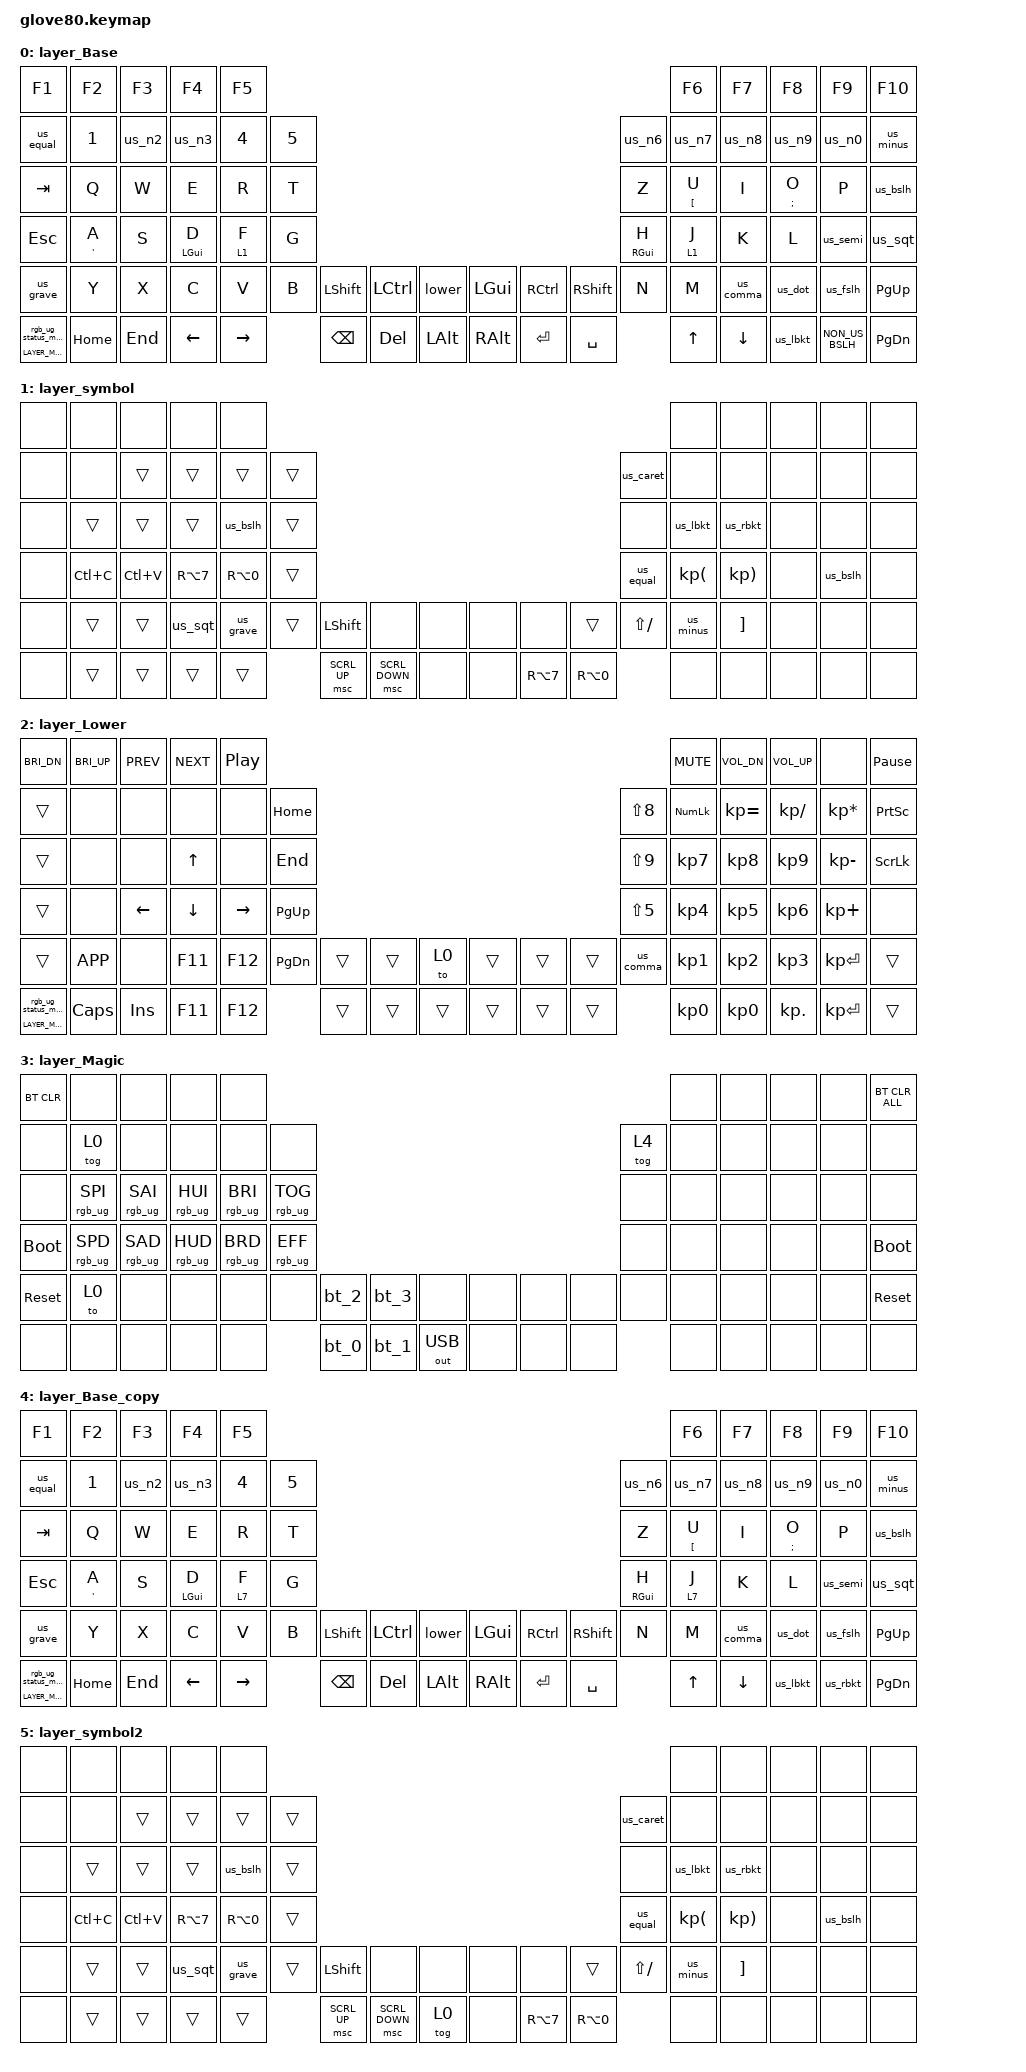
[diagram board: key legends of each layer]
/*
 * Copyright (c) 2020 The ZMK Contributors
 * Copyright (c) 2025 Innaworks Development Limited, trading as MoErgo
 *
 * SPDX-License-Identifier: MIT
 */


/* THIS FILE WAS GENERATED BY GLOVE80 LAYOUT EDITOR
 *
 * This file was generated automatically. You may or may not want to
 * edit it directly.
 */

#include <behaviors.dtsi>
/* Include all behavior includes needed */
#include <dt-bindings/zmk/outputs.h>
#include <dt-bindings/zmk/keys.h>
#include <dt-bindings/zmk/bt.h>
#include <dt-bindings/zmk/rgb.h>

/* On demand includes */
#include <dt-bindings/zmk/pointing.h>

/* Automatically generated layer name #define */
#define LAYER_Base 0
#define LAYER_symbol 1
#define LAYER_Lower 2
#define LAYER_Magic 3
#define LAYER_Base_copy 4
#define LAYER_symbol2 5

/* To deal with the situation where there is no Lower layer, to keep &lower happy */
#ifndef LAYER_Lower
#define LAYER_Lower 0
#endif

/* Custom Device-tree */


/* Input Listeners */


/* System behavior and Macros */
/ {
    behaviors {
        // For the "layer" key, it'd nice to be able to use it as either a shift or a toggle.
        // Configure it as a tap dance, so the first tap (or hold) is a &mo and the second tap is a &to
        /* tap-dance: momentary Lower; double tap switches to Lower */
        lower: lower {
            compatible = "zmk,behavior-tap-dance";
            label = "LAYER_TAP_DANCE";
            #binding-cells = <0>;
            tapping-term-ms = <200>;
            bindings = <&mo LAYER_Lower>, <&to LAYER_Lower>;
        };
    };
};

/ {
    macros {
        /* show RGB status */
        rgb_ug_status_macro: rgb_ug_status_macro {
            label = "RGB_UG_STATUS";
            compatible = "zmk,behavior-macro";
            #binding-cells = <0>;
            bindings
                = <&rgb_ug RGB_STATUS>;
        };
    };
};


/ {
#ifdef BT_DISC_CMD
    behaviors {
        /* Bluetooth profile 0 (double tap may disconnect) */
        bt_0: bt_0 {
            compatible = "zmk,behavior-tap-dance";
            label = "BT_0";
            #binding-cells = <0>;
            tapping-term-ms = <200>;
            bindings = <&bt_select_0>, <&bt BT_DISC 0>;
        };
        /* Bluetooth profile 1 (double tap may disconnect) */
        bt_1: bt_1 {
            compatible = "zmk,behavior-tap-dance";
            label = "BT_1";
            #binding-cells = <0>;
            tapping-term-ms = <200>;
            bindings = <&bt_select_1>, <&bt BT_DISC 1>;
        };
        /* Bluetooth profile 2 (double tap may disconnect) */
        bt_2: bt_2 {
            compatible = "zmk,behavior-tap-dance";
            label = "BT_2";
            #binding-cells = <0>;
            tapping-term-ms = <200>;
            bindings = <&bt_select_2>, <&bt BT_DISC 2>;
        };
        /* Bluetooth profile 3 (double tap may disconnect) */
        bt_3: bt_3 {
            compatible = "zmk,behavior-tap-dance";
            label = "BT_3";
            #binding-cells = <0>;
            tapping-term-ms = <200>;
            bindings = <&bt_select_3>, <&bt BT_DISC 3>;
        };
    };
    macros {
        bt_select_0: bt_select_0 {
            label = "BT_SELECT_0";
            compatible = "zmk,behavior-macro";
            #binding-cells = <0>;
            bindings
                = <&out OUT_BLE>,
                  <&bt BT_SEL 0>;
        };
        bt_select_1: bt_select_1 {
            label = "BT_SELECT_1";
            compatible = "zmk,behavior-macro";
            #binding-cells = <0>;
            bindings
                = <&out OUT_BLE>,
                  <&bt BT_SEL 1>;
        };
        bt_select_2: bt_select_2 {
            label = "BT_SELECT_2";
            compatible = "zmk,behavior-macro";
            #binding-cells = <0>;
            bindings
                = <&out OUT_BLE>,
                  <&bt BT_SEL 2>;
        };
        bt_select_3: bt_select_3 {
            label = "BT_SELECT_3";
            compatible = "zmk,behavior-macro";
            #binding-cells = <0>;
            bindings
                = <&out OUT_BLE>,
                  <&bt BT_SEL 3>;
        };
    };
#else
    macros {
        bt_0: bt_0 {
            label = "BT_0";
            compatible = "zmk,behavior-macro";
            #binding-cells = <0>;
            bindings
                = <&out OUT_BLE>,
                  <&bt BT_SEL 0>;
        };
        bt_1: bt_1 {
            label = "BT_1";
            compatible = "zmk,behavior-macro";
            #binding-cells = <0>;
            bindings
                = <&out OUT_BLE>,
                  <&bt BT_SEL 1>;
        };
        bt_2: bt_2 {
            label = "BT_2";
            compatible = "zmk,behavior-macro";
            #binding-cells = <0>;
            bindings
                = <&out OUT_BLE>,
                  <&bt BT_SEL 2>;
        };
        bt_3: bt_3 {
            label = "BT_3";
            compatible = "zmk,behavior-macro";
            #binding-cells = <0>;
            bindings
                = <&out OUT_BLE>,
                  <&bt BT_SEL 3>;
        };
    };
#endif
};

/ {
    behaviors {
        /* hold Magic layer; tap RGB status */
        magic: magic {
            compatible = "zmk,behavior-hold-tap";
            label = "MAGIC_HOLD_TAP";
            #binding-cells = <2>;
            flavor = "tap-preferred";
            tapping-term-ms = <200>;
            bindings = <&mo>, <&rgb_ug_status_macro>;
        };
    };
};

/* #define for key positions */
#define POS_LH_T1 52
#define POS_LH_T2 53
#define POS_LH_T3 54
#define POS_LH_T4 69
#define POS_LH_T5 70
#define POS_LH_T6 71
#define POS_LH_C1R2 15
#define POS_LH_C1R3 27
#define POS_LH_C1R4 39
#define POS_LH_C1R5 51
#define POS_LH_C2R1 4
#define POS_LH_C2R2 14
#define POS_LH_C2R3 26
#define POS_LH_C2R4 38
#define POS_LH_C2R5 50
#define POS_LH_C2R6 68
#define POS_LH_C3R1 3
#define POS_LH_C3R2 13
#define POS_LH_C3R3 25
#define POS_LH_C3R4 37
#define POS_LH_C3R5 49
#define POS_LH_C3R6 67
#define POS_LH_C4R1 2
#define POS_LH_C4R2 12
#define POS_LH_C4R3 24
#define POS_LH_C4R4 36
#define POS_LH_C4R5 48
#define POS_LH_C4R6 66
#define POS_LH_C5R1 1
#define POS_LH_C5R2 11
#define POS_LH_C5R3 23
#define POS_LH_C5R4 35
#define POS_LH_C5R5 47
#define POS_LH_C5R6 65
#define POS_LH_C6R1 0
#define POS_LH_C6R2 10
#define POS_LH_C6R3 22
#define POS_LH_C6R4 34
#define POS_LH_C6R5 46
#define POS_LH_C6R6 64
#define POS_RH_T1 57
#define POS_RH_T2 56
#define POS_RH_T3 55
#define POS_RH_T4 74
#define POS_RH_T5 73
#define POS_RH_T6 72
#define POS_RH_C1R2 16
#define POS_RH_C1R3 28
#define POS_RH_C1R4 40
#define POS_RH_C1R5 58
#define POS_RH_C2R1 5
#define POS_RH_C2R2 17
#define POS_RH_C2R3 29
#define POS_RH_C2R4 41
#define POS_RH_C2R5 59
#define POS_RH_C2R6 75
#define POS_RH_C3R1 6
#define POS_RH_C3R2 18
#define POS_RH_C3R3 30
#define POS_RH_C3R4 42
#define POS_RH_C3R5 60
#define POS_RH_C3R6 76
#define POS_RH_C4R1 7
#define POS_RH_C4R2 19
#define POS_RH_C4R3 31
#define POS_RH_C4R4 43
#define POS_RH_C4R5 61
#define POS_RH_C4R6 77
#define POS_RH_C5R1 8
#define POS_RH_C5R2 20
#define POS_RH_C5R3 32
#define POS_RH_C5R4 44
#define POS_RH_C5R5 62
#define POS_RH_C5R6 78
#define POS_RH_C6R1 9
#define POS_RH_C6R2 21
#define POS_RH_C6R3 33
#define POS_RH_C6R4 45
#define POS_RH_C6R5 63
#define POS_RH_C6R6 79



/ {
    macros {
        us_caret: us_caret_macro {
            compatible = "zmk,behavior-macro";
            #binding-cells = <0>;
            bindings = <&kp GRAVE>, <&kp SPACE>; // German ^ is a dead key
        };
        /* US backtick ` (German dead-key + Space) */
        us_grave_macro: us_grave_macro {
            compatible = "zmk,behavior-macro";
            #binding-cells = <0>;
            bindings = <&kp LS(EQUAL)>, <&kp SPACE>; // German grave is a dead key
        };
    };
    behaviors {
        /* US 2 / @ (Shift) */
        us_n2: us_n2 {
            compatible = "zmk,behavior-mod-morph";
            #binding-cells = <0>;
            bindings = <&kp N2>, <&kp RA(Q)>;
            mods = <(MOD_LSFT|MOD_RSFT)>;
        };
        /* US 3 / # (Shift) */
        us_n3: us_n3 {
            compatible = "zmk,behavior-mod-morph";
            #binding-cells = <0>;
            bindings = <&kp N3>, <&kp BSLH>;
            mods = <(MOD_LSFT|MOD_RSFT)>;
        };
        /* US 6 / ^ (Shift) */
        us_n6: us_n6 {
            compatible = "zmk,behavior-mod-morph";
            #binding-cells = <0>;
            bindings = <&kp N6>, <&us_caret>;
            mods = <(MOD_LSFT|MOD_RSFT)>;
        };
        /* US 7 / & (Shift) */
        us_n7: us_n7 {
            compatible = "zmk,behavior-mod-morph";
            #binding-cells = <0>;
            bindings = <&kp N7>, <&kp LS(N6)>;
            mods = <(MOD_LSFT|MOD_RSFT)>;
        };
        /* US 8 / * (Shift) */
        us_n8: us_n8 {
            compatible = "zmk,behavior-mod-morph";
            #binding-cells = <0>;
            bindings = <&kp N8>, <&kp LS(RBKT)>;
            mods = <(MOD_LSFT|MOD_RSFT)>;
        };
        /* US 9 / ( (Shift) */
        us_n9: us_n9 {
            compatible = "zmk,behavior-mod-morph";
            #binding-cells = <0>;
            bindings = <&kp N9>, <&kp LS(N8)>;
            mods = <(MOD_LSFT|MOD_RSFT)>;
        };
        /* US 0 / ) (Shift) */
        us_n0: us_n0 {
            compatible = "zmk,behavior-mod-morph";
            #binding-cells = <0>;
            bindings = <&kp N0>, <&kp LS(N9)>;
            mods = <(MOD_LSFT|MOD_RSFT)>;
        };
        /* US - / _ (Shift) */
        us_minus: us_minus {
            compatible = "zmk,behavior-mod-morph";
            #binding-cells = <0>;
            bindings = <&kp FSLH>, <&kp LS(FSLH)>;
            mods = <(MOD_LSFT|MOD_RSFT)>;
        };
        /* US = / + (Shift) */
        us_equal: us_equal {
            compatible = "zmk,behavior-mod-morph";
            #binding-cells = <0>;
            bindings = <&kp LS(N0)>, <&kp RBKT>;
            mods = <(MOD_LSFT|MOD_RSFT)>;
        };
        /* US [ / { (Shift) */
        us_lbkt: us_lbkt {
            compatible = "zmk,behavior-mod-morph";
            #binding-cells = <0>;
            bindings = <&kp RA(N8)>, <&kp RA(N7)>;
            mods = <(MOD_LSFT|MOD_RSFT)>;
        };
        /* US ] / } (Shift) */
        us_rbkt: us_rbkt {
            compatible = "zmk,behavior-mod-morph";
            #binding-cells = <0>;
            bindings = <&kp RA(N9)>, <&kp RA(N0)>;
            mods = <(MOD_LSFT|MOD_RSFT)>;
        };
        /* US backslash / | (Shift) */
        us_bslh: us_bslh {
            compatible = "zmk,behavior-mod-morph";
            #binding-cells = <0>;
            bindings = <&kp RA(MINUS)>, <&kp RA(NON_US_BSLH)>;
            mods = <(MOD_LSFT|MOD_RSFT)>;
        };
        /* US ; / : (Shift) */
        us_semi: us_semi {
            compatible = "zmk,behavior-mod-morph";
            #binding-cells = <0>;
            bindings = <&kp LS(COMMA)>, <&kp LS(DOT)>;
            mods = <(MOD_LSFT|MOD_RSFT)>;
        };
        /* US ' / double quote (Shift) */
        us_sqt: us_sqt {
            compatible = "zmk,behavior-mod-morph";
            #binding-cells = <0>;
            bindings = <&kp LS(BSLH)>, <&kp LS(N2)>;
            mods = <(MOD_LSFT|MOD_RSFT)>;
        };
        /* US backtick / ~ (Shift) */
        us_grave: us_grave {
            compatible = "zmk,behavior-mod-morph";
            #binding-cells = <0>;
            bindings = <&us_grave_macro>, <&kp RA(RBKT)>;
            mods = <(MOD_LSFT|MOD_RSFT)>;
        };
        /* US , / < (Shift) */
        us_comma: us_comma {
            compatible = "zmk,behavior-mod-morph";
            #binding-cells = <0>;
            bindings = <&kp COMMA>, <&kp NON_US_BSLH>;
            mods = <(MOD_LSFT|MOD_RSFT)>;
        };
        /* US . / > (Shift) */
        us_dot: us_dot {
            compatible = "zmk,behavior-mod-morph";
            #binding-cells = <0>;
            bindings = <&kp DOT>, <&kp LS(NON_US_BSLH)>;
            mods = <(MOD_LSFT|MOD_RSFT)>;
        };
        /* US / / ? (Shift) */
        us_fslh: us_fslh {
            compatible = "zmk,behavior-mod-morph";
            #binding-cells = <0>;
            bindings = <&kp LS(N7)>, <&kp LS(MINUS)>;
            mods = <(MOD_LSFT|MOD_RSFT)>;
        };
    };
};

/* Automatically generated behavior definitions */
/ {
    behaviors {

        /* left-hand hold activates layer; tap sends key */

        HT_MO_L: HT_MO_L {
            compatible = "zmk,behavior-hold-tap";
            #binding-cells = <2>;
            tapping-term-ms = <140>;
            bindings = <&mo>, <&kp>;
            flavor = "tap-preferred";
            hold-trigger-key-positions = <28 16 5 17 18 6 7 19 31 29 30 42 41 40 58 59 61 60 76 75 77 43 44 32 20 8 9 21 33 45 63 62 78 79 57 56 55 72 73 74>;
        };

        /* hold sends first key; tap sends second key */

        CTRL: CTRL {
            compatible = "zmk,behavior-hold-tap";
            #binding-cells = <2>;
            tapping-term-ms = <150>;
            bindings = <&kp>, <&kp>;
            flavor = "balanced";
            quick-tap-ms = <0>;
            hold-trigger-key-positions = <>;
        };

        /* left-hand hold sends modifier; tap sends key */

        HT_KP_L: HT_KP_L {
            compatible = "zmk,behavior-hold-tap";
            #binding-cells = <2>;
            tapping-term-ms = <190>;
            bindings = <&kp>, <&kp>;
            flavor = "tap-preferred";
            require-prior-idle-ms = <120>;
            hold-trigger-key-positions = <28 16 5 17 18 6 7 19 31 29 30 42 41 40 58 59 61 60 76 75 77 43 44 32 20 8 9 21 33 45 63 62 78 79 57 56 55 72 73 74>;
        };

        /* right-hand hold activates layer; tap sends key */

        HT_MO_R: HT_MO_R {
            compatible = "zmk,behavior-hold-tap";
            #binding-cells = <2>;
            tapping-term-ms = <140>;
            bindings = <&mo>, <&kp>;
            flavor = "tap-preferred";
            hold-trigger-key-positions = <1 11 10 0 23 22 34 35 46 47 65 64 66 48 36 24 12 2 3 13 4 14 15 27 26 25 37 38 39 51 50 49 67 68 52 69 70 53 54 71>;
        };

        /* right-hand hold sends modifier; tap sends key */

        HT_KP_R: HT_KP_R {
            compatible = "zmk,behavior-hold-tap";
            #binding-cells = <2>;
            tapping-term-ms = <190>;
            bindings = <&kp>, <&kp>;
            flavor = "tap-preferred";
            require-prior-idle-ms = <120>;
            hold-trigger-key-positions = <0 1 11 10 23 22 34 35 46 64 65 47 66 36 48 24 12 2 3 4 14 13 25 26 38 37 49 68 67 50 51 39 27 15 52 69 70 53 54 71>;
        };

        /* 350 ms hold/tap: hold first keycode, tap second */

        umlaut: umlaut {
            compatible = "zmk,behavior-hold-tap";
            #binding-cells = <2>;
            tapping-term-ms = <350>;
            bindings = <&kp>, <&kp>;
            flavor = "tap-preferred";
            require-prior-idle-ms = <300>;
            hold-trigger-key-positions = <>;
        };
    };
};

/* Automatically generated combos definitions */
/ {
      combos {
          compatible = "zmk,combos";
                  combo_controlc {
            timeout-ms = <50>;
            key-positions = <48 49>;
            bindings = <&kp LC(C)>;
            require-prior-idle-ms = <200>;
        };

        combo_controlv {
            timeout-ms = <50>;
            key-positions = <49 50>;
            bindings = <&kp LC(V)>;
            require-prior-idle-ms = <200>;
        };
      };
    };

/*
 * COMMENTED KEYMAP REFERENCE
 * All ZMK binding values are preserved from glove80_german_os_us_qwerty.keymap.
 * Each layer binding below is documented by logical key position (0..79),
 * position identifier, and its intended action.
 * The target OS MUST use the standard German keyboard layout.
 * NOTE: Behavior comments describe intent; firmware has not been compiled here.
 * WARNING: Modifier/Shift interactions in the source custom us_* behaviors
 * require hardware testing. Comments do not validate their correctness.
 */

/* Automatically generated keymap */
/ {
    keymap {
        compatible = "zmk,keymap";


        layer_Base {
            bindings = <
                &kp F1                &kp F2                &kp F3                &kp F4                &kp F5                                                                                                                                                                                                &kp F6                &kp F7                &kp F8                &kp F9                &kp F10
                &us_equal             &kp N1                &us_n2                &us_n3                &kp N4                &kp N5                                                                                                                                                    &us_n6                &us_n7                &us_n8                &us_n9                &us_n0                &us_minus
                &kp TAB               &kp Q                 &kp W                 &kp E                 &kp R                 &kp T                                                                                                                                                     &kp Z                 &umlaut LBKT U        &kp I                 &umlaut SEMI O        &kp P                 &us_bslh
                &kp ESC               &umlaut SQT A         &kp S                 &HT_KP_L LGUI D       &HT_MO_L 1 F          &kp G                                                                                                                                                     &HT_KP_R RGUI H       &HT_MO_R 1 J          &kp K                 &kp L                 &us_semi              &us_sqt
                &us_grave             &kp Y                 &kp X                 &kp C                 &kp V                 &kp B                 &kp LSHFT             &kp LCTRL             &lower                &kp LGUI              &kp RCTRL             &kp RSHFT             &kp N                 &kp M                 &us_comma             &us_dot               &us_fslh              &kp PG_UP
                &magic LAYER_Magic 0  &kp HOME              &kp END               &kp LEFT              &kp RIGHT                                   &kp BSPC              &kp DEL               &kp LALT              &kp RALT              &kp RET               &kp SPACE                                   &kp UP                &kp DOWN              &us_lbkt              &kp NON_US_BSLH       &kp PG_DN
            >;
        };

        layer_symbol {
            bindings = <
                &none                 &none                 &none                 &none                 &none                                                                                                                                                                                                 &none                 &none                 &none                 &none                 &none
                &none                 &none                 &trans                &trans                &trans                &trans                                                                                                                                                    &us_caret             &none                 &none                 &none                 &none                 &none
                &none                 &trans                &trans                &trans                &us_bslh              &trans                                                                                                                                                    &none                 &us_lbkt              &us_rbkt              &none                 &none                 &none
                &none                 &kp LC(C)             &kp LC(V)             &kp RA(N7)            &kp RA(N0)            &trans                                                                                                                                                    &us_equal             &kp KP_LPAR           &kp KP_RPAR           &none                 &us_bslh              &none
                &none                 &trans                &trans                &us_sqt               &us_grave             &trans                &kp LSHFT             &none                 &none                 &none                 &none                 &trans                &kp LS(FSLH)          &us_minus             &kp RBKT              &none                 &none                 &none
                &none                 &trans                &trans                &trans                &trans                                      &msc SCRL_UP          &msc SCRL_DOWN        &none                 &none                 &kp RA(N7)            &kp RA(N0)                                  &none                 &none                 &none                 &none                 &none
            >;
        };

        layer_Lower {
            bindings = <
                &kp C_BRI_DN          &kp C_BRI_UP          &kp C_PREV            &kp C_NEXT            &kp C_PP                                                                                                                                                                                              &kp C_MUTE            &kp C_VOL_DN          &kp C_VOL_UP          &none                 &kp PAUSE_BREAK
                &trans                &none                 &none                 &none                 &none                 &kp HOME                                                                                                                                                  &kp LS(N8)            &kp KP_NUM            &kp KP_EQUAL          &kp KP_SLASH          &kp KP_MULTIPLY       &kp PRINTSCREEN
                &trans                &none                 &none                 &kp UP_ARROW          &none                 &kp END                                                                                                                                                   &kp LS(N9)            &kp KP_N7             &kp KP_N8             &kp KP_N9             &kp KP_MINUS          &kp SCROLLLOCK
                &trans                &none                 &kp LEFT_ARROW        &kp DOWN_ARROW        &kp RIGHT_ARROW       &kp PG_UP                                                                                                                                                 &kp LS(N5)            &kp KP_N4             &kp KP_N5             &kp KP_N6             &kp KP_PLUS           &none
                &trans                &kp K_APP             &none                 &kp F11               &kp F12               &kp PG_DN             &trans                &trans                &to 0                 &trans                &trans                &trans                &us_comma             &kp KP_N1             &kp KP_N2             &kp KP_N3             &kp KP_ENTER          &trans
                &magic LAYER_Magic 0  &kp CAPS              &kp INS               &kp F11               &kp F12                                     &trans                &trans                &trans                &trans                &trans                &trans                                      &kp KP_N0             &kp KP_N0             &kp KP_DOT            &kp KP_ENTER          &trans
            >;
        };

        layer_Magic {
            bindings = <
                &bt BT_CLR            &none                 &none                 &none                 &none                                                                                                                                                                                                 &none                 &none                 &none                 &none                 &bt BT_CLR_ALL
                &none                 &tog 0                &none                 &none                 &none                 &none                                                                                                                                                     &tog 4                &none                 &none                 &none                 &none                 &none
                &none                 &rgb_ug RGB_SPI       &rgb_ug RGB_SAI       &rgb_ug RGB_HUI       &rgb_ug RGB_BRI       &rgb_ug RGB_TOG                                                                                                                                           &none                 &none                 &none                 &none                 &none                 &none
                &bootloader           &rgb_ug RGB_SPD       &rgb_ug RGB_SAD       &rgb_ug RGB_HUD       &rgb_ug RGB_BRD       &rgb_ug RGB_EFF                                                                                                                                           &none                 &none                 &none                 &none                 &none                 &bootloader
                &sys_reset            &to 0                 &none                 &none                 &none                 &none                 &bt_2                 &bt_3                 &none                 &none                 &none                 &none                 &none                 &none                 &none                 &none                 &none                 &sys_reset
                &none                 &none                 &none                 &none                 &none                                       &bt_0                 &bt_1                 &out OUT_USB          &none                 &none                 &none                                       &none                 &none                 &none                 &none                 &none
            >;
        };

        layer_Base_copy {
            bindings = <
                &kp F1                &kp F2                &kp F3                &kp F4                &kp F5                                                                                                                                                                                                &kp F6                &kp F7                &kp F8                &kp F9                &kp F10
                &us_equal             &kp N1                &us_n2                &us_n3                &kp N4                &kp N5                                                                                                                                                    &us_n6                &us_n7                &us_n8                &us_n9                &us_n0                &us_minus
                &kp TAB               &kp Q                 &kp W                 &kp E                 &kp R                 &kp T                                                                                                                                                     &kp Z                 &umlaut LBKT U        &kp I                 &umlaut SEMI O        &kp P                 &us_bslh
                &kp ESC               &umlaut SQT A         &kp S                 &HT_KP_L LGUI D       &HT_MO_L 7 F          &kp G                                                                                                                                                     &HT_KP_R RGUI H       &HT_MO_R 7 J          &kp K                 &kp L                 &us_semi              &us_sqt
                &us_grave             &kp Y                 &kp X                 &kp C                 &kp V                 &kp B                 &kp LSHFT             &kp LCTRL             &lower                &kp LGUI              &kp RCTRL             &kp RSHFT             &kp N                 &kp M                 &us_comma             &us_dot               &us_fslh              &kp PG_UP
                &magic LAYER_Magic 0  &kp HOME              &kp END               &kp LEFT              &kp RIGHT                                   &kp BSPC              &kp DEL               &kp LALT              &kp RALT              &kp RET               &kp SPACE                                   &kp UP                &kp DOWN              &us_lbkt              &us_rbkt              &kp PG_DN
            >;
        };

        layer_symbol2 {
            bindings = <
                &none                 &none                 &none                 &none                 &none                                                                                                                                                                                                 &none                 &none                 &none                 &none                 &none
                &none                 &none                 &trans                &trans                &trans                &trans                                                                                                                                                    &us_caret             &none                 &none                 &none                 &none                 &none
                &none                 &trans                &trans                &trans                &us_bslh              &trans                                                                                                                                                    &none                 &us_lbkt              &us_rbkt              &none                 &none                 &none
                &none                 &kp LC(C)             &kp LC(V)             &kp RA(N7)            &kp RA(N0)            &trans                                                                                                                                                    &us_equal             &kp KP_LPAR           &kp KP_RPAR           &none                 &us_bslh              &none
                &none                 &trans                &trans                &us_sqt               &us_grave             &trans                &kp LSHFT             &none                 &none                 &none                 &none                 &trans                &kp LS(FSLH)          &us_minus             &kp RBKT              &none                 &none                 &none
                &none                 &trans                &trans                &trans                &trans                                      &msc SCRL_UP          &msc SCRL_DOWN        &tog 0                &none                 &kp RA(N7)            &kp RA(N0)                                  &none                 &none                 &none                 &none                 &none
            >;
        };

    };
};
